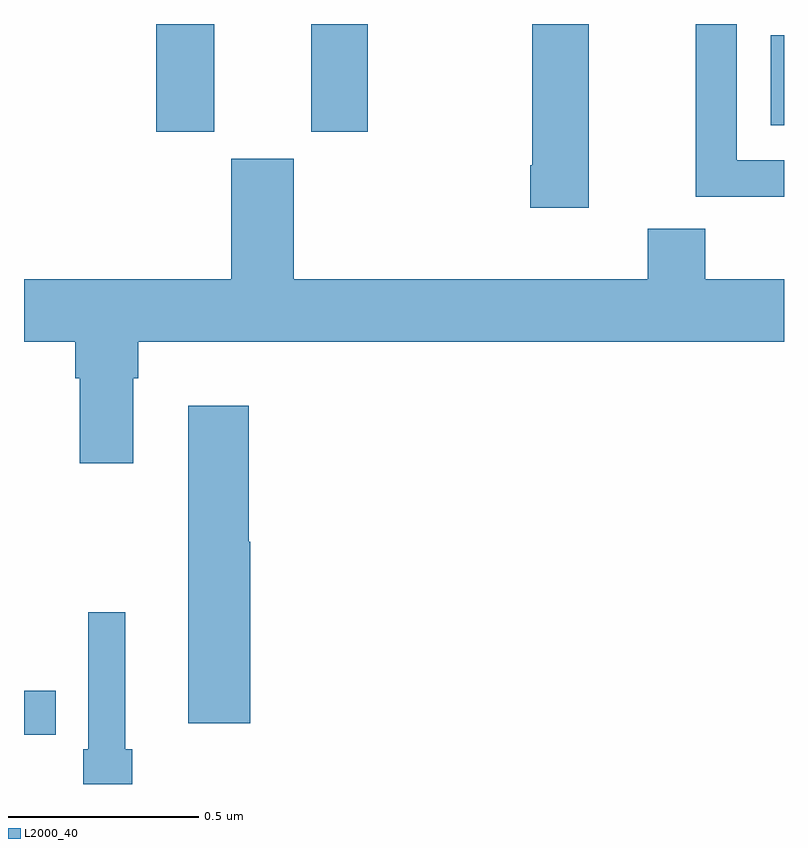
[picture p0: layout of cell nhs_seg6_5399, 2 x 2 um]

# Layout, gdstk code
import gdstk
lib = gdstk.Library(unit=1e-6, precision=1e-09)
def R(c, l, rs):  # rectangles x0, y0, x1, y1
    for r in rs: c.add(gdstk.rectangle(r[:2], r[2:], *l))
def P(c, l, *ps):  # polygons
    for p in ps: c.add(gdstk.Polygon(p, *l))
L2000_40 = (2000, 40)

nhs_seg6_5399 = lib.new_cell('nhs_seg6_5399')
R(nhs_seg6_5399, L2000_40, [(182,951.63,182.084,951.746), (182.348,953.217,182.5,953.5), (182.756,953.217,182.904,953.5), (183.965,953.234,184,953.47)])
P(nhs_seg6_5399, L2000_40, [(184,953.142),(183.876,953.142),(183.876,953.5),(183.768,953.5),(183.768,953.046),(184,953.046)],
  [(183.486,953.5),(183.337,953.5),(183.337,953.128),(183.332,953.128),(183.332,953.016),(183.486,953.016)],
  [(182.287,952.568),(182.3,952.568),(182.3,952.664),(184,952.664),(184,952.828),(183.793,952.828),(183.793,952.961),(183.641,952.961),(183.641,952.828),(182.71,952.828),(182.71,953.145),(182.546,953.145),(182.546,952.828),(182,952.828),(182,952.664),(182.135,952.664),(182.135,952.568),(182.147,952.568),(182.147,952.344),(182.287,952.344)],
  [(182.596,952.137),(182.591,952.137),(182.591,952.495),(182.432,952.495),(182.432,951.66),(182.596,951.66)],
  [(182.285,951.592),(182.266,951.592),(182.266,951.952),(182.169,951.952),(182.169,951.592),(182.156,951.592),(182.156,951.5),(182.285,951.5)])

lib.write_gds('nhs_seg6_5399.gds')
